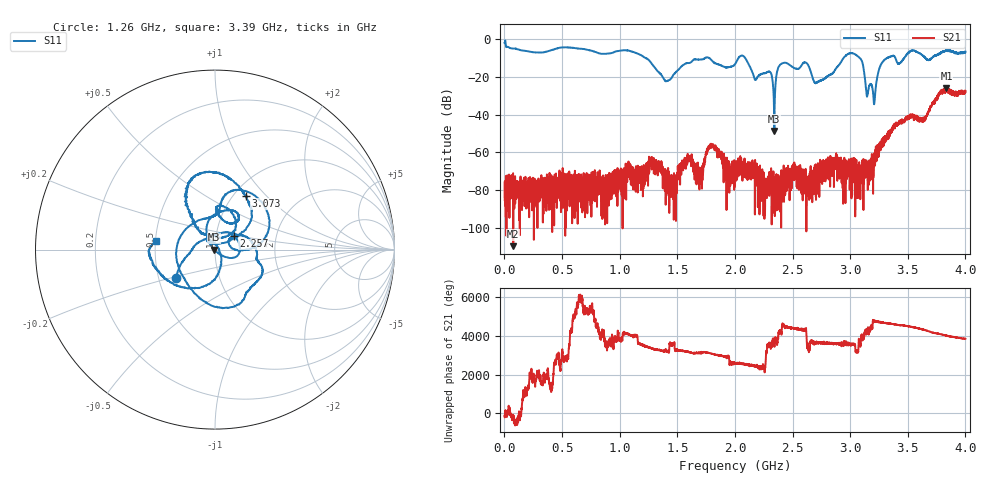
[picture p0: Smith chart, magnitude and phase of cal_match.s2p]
!Created with skrf (http://scikit-rf.org).
# GHz S RI R 50.0
!freq ReS11 ImS11 ReS21 ImS21 ReS12 ImS12 ReS22 ImS22
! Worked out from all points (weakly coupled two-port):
!   4000 points, 1 MHz to 4 GHz, reference 50 ohm
!   highest |S21| = -26.06 dB at 3.835 GHz (marker M1); lowest = -109.9 dB at 76 MHz (marker M2)
!   lowest |S11| = -48.6 dB at 2.342 GHz (marker M3), VSWR 1.01, Z = 49.6 - j0.0623 ohm
!   |S11| at or under -10 dB: 1.229 GHz to 1.738 GHz (508.6 MHz wide, 34.3 % of centre); 1.781 GHz to 2.029 GHz (248.2 MHz wide, 13 % of centre); 2.09 GHz to 2.94 GHz (850 MHz wide, 33.8 % of centre) (the widest 3 of 7)
!   S12 and S22 are empty: the file has one direction only
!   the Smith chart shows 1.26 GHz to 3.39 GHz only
!   S11 on the Smith chart (normalised r, x): 1.26 GHz: 0.62, -0.21; 2.257 GHz: 1.22, +0.18; 3.073 GHz: 1.13, +0.77; 3.39 GHz: 0.50, +0.05
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0.001  0.8044 -0.0832  -0.000106 -0.000117  0 0  0 0
0.031  -0.5866 -0.2397  5.65e-05 -0.000168  0 0  0 0
0.076  -0.5479 0.1593  -1.98e-06 -2.53e-06  0 0  0 0
0.297  0.4503 0.00626  -5.73e-05 3.97e-05  0 0  0 0
0.476  -0.1397 -0.5823  -0.000125 6.98e-05  0 0  0 0
0.668  -0.5309 0.19  2.75e-05 1.88e-05  0 0  0 0
0.954  0.4606 -0.064  0.000104 -0.000101  0 0  0 0
1.26  -0.2152 -0.1597  -0.000528 2.75e-05  0 0  0 0
1.334  -0.138 -0.0146  0.000324 0.000183  0 0  0 0
1.475  0.0792 0.0943  9.68e-05 -8.29e-05  0 0  0 0
1.808  -0.128 -0.2249  -0.00143 -0.000117  0 0  0 0
2.001  0.0261 0.219  3.97e-05 0.000244  0 0  0 0
2.257  0.1033 0.0738  5.7e-05 1.53e-05  0 0  0 0
2.342  -0.00365 -0.000628  8.68e-05 -3.21e-05  0 0  0 0
2.413  0.0768 0.2218  0.000137 -6.55e-05  0 0  0 0
2.667  0.0768 0.0836  0.000147 0.000189  0 0  0 0
3.073  0.1701 0.2994  0.000151 -5.19e-05  0 0  0 0
3.204  0.00787 0.0234  0.000322 0.000552  0 0  0 0
3.334  -0.3092 -0.1264  0.00191 -0.00136  0 0  0 0
3.39  -0.3286 0.0467  -6.69e-05 -0.00523  0 0  0 0
3.835  0.4435 0.238  0.0263 0.0423  0 0  0 0
4  0.1886 -0.4342  -0.0136 -0.0402  0 0  0 0
